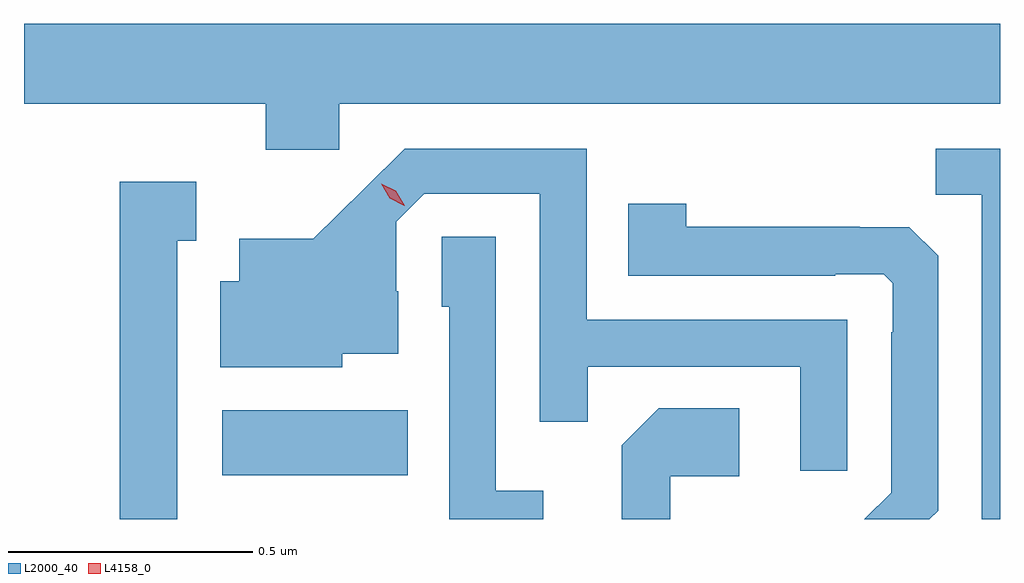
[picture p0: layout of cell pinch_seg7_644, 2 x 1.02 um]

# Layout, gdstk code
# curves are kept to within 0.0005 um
import gdstk
lib = gdstk.Library(unit=1e-6, precision=1e-09)
def R(c, l, rs):  # rectangles x0, y0, x1, y1
    for r in rs: c.add(gdstk.rectangle(r[:2], r[2:], *l))
def P(c, l, *ps):  # polygons
    for p in ps: c.add(gdstk.Polygon(p, *l))
L2000_40 = (2000, 40)
L4158_0 = (4158, 0)

pinch_seg7_644 = lib.new_cell('pinch_seg7_644')
R(pinch_seg7_644, L2000_40, [(145.59,1038.482,145.97,1038.616)])
P(pinch_seg7_644, L2000_40, [(145.83,1039.244),(147.184,1039.244),(147.184,1039.408),(145.184,1039.408),(145.184,1039.244),(145.679,1039.244),(145.679,1039.149),(145.83,1039.149)],
  [(146.871,1038.801),(146.337,1038.801),(146.337,1039.152),(145.964,1039.152),(145.777,1038.967),(145.625,1038.967),(145.625,1038.88),(145.586,1038.88),(145.586,1038.704),(145.836,1038.704),(145.836,1038.731),(145.951,1038.731),(145.951,1038.86),(145.947,1038.86),(145.947,1039.002),(146.004,1039.059),(146.241,1039.059),(146.241,1038.592),(146.339,1038.592),(146.339,1038.705),(146.775,1038.705),(146.775,1038.492),(146.871,1038.492)],
  [(147.184,1039.152),(147.052,1039.152),(147.052,1039.057),(147.147,1039.057),(147.147,1038.392),(147.184,1038.392)],
  [(145.498,1038.963),(145.537,1038.963),(145.537,1039.084),(145.38,1039.084),(145.38,1038.392),(145.498,1038.392)],
  [(147.057,1038.41),(147.057,1038.932),(146.998,1038.991),(146.897,1038.991),(146.897,1038.992),(146.541,1038.992),(146.541,1039.039),(146.422,1039.039),(146.422,1038.891),(146.846,1038.891),(146.846,1038.894),(146.946,1038.894),(146.964,1038.876),(146.964,1038.776),(146.961,1038.776),(146.961,1038.447),(146.906,1038.392),(147.039,1038.392)],
  [(146.248,1038.451),(146.151,1038.451),(146.151,1038.971),(146.04,1038.971),(146.04,1038.828),(146.055,1038.828),(146.055,1038.392),(146.248,1038.392)],
  [(146.508,1038.48),(146.65,1038.48),(146.65,1038.62),(146.485,1038.62),(146.409,1038.544),(146.409,1038.392),(146.508,1038.392)])
P(pinch_seg7_644, L4158_0, [(145.963,1039.035),(145.933,1039.05),(145.916,1039.08),(145.916,1039.08),(145.916,1039.08),(145.946,1039.065),(145.964,1039.035),(145.964,1039.035)])

lib.write_gds('pinch_seg7_644.gds')
